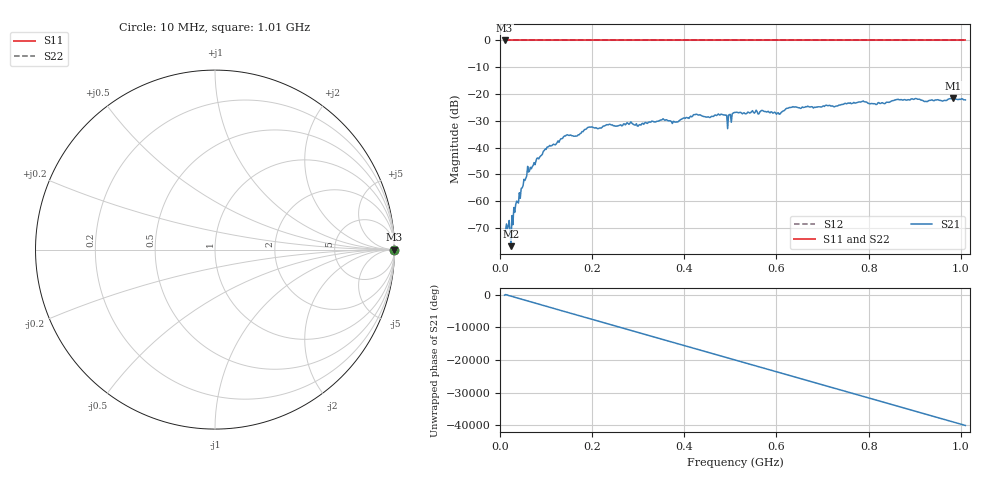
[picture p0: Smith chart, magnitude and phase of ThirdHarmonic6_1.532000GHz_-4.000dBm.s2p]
! 8/16/2025 6:07:52 PM
! C:\ANRITSUVNA\TEMP\TEMP.S2P
! CHANNEL.1
! TR.MEASUREMENT
! RAW.DATA
! RF.CORRECTION.OFF
! AVERAGING.OFF
! IF.BANDWIDTH: 5KHZ
! SWEEPTYPE:  FREQ.SWEEP(Linear)
! Reference Plane Port Info
! PORT:  PORT1  PORT2
! DISTANCE:  0  m  0  m
! TIME:  0  s  0  s
! PHASE.OFFSET:  0  deg.  0  deg.
! LOSS:  0  dB  0  dB
! REF.LOSS:  0  dB  0  dB
! REF.FREQ:  0  Hz  0  Hz
! Power Info
! POWER:  -20  dBm  -20  dBm
! EFF.POWER:  -20  dBm  -20  dBm
! SOURCE.ATTEN:  0  dB  0  dB
! TEST.ATTEN:  0  dB  0  dB
# GHZ S RI R 50.0
! FREQ.GHZ  S11RE  S11IM  S21RE  S21IM  S12RE  S12IM  S22RE  S22IM
!; PortSelection: Port_12
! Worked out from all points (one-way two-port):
!   501 points, 10 MHz to 1.01 GHz, reference 50 ohm
!   highest |S21| = -21.64 dB at 984 MHz (marker M1); lowest = -76.8 dB at 24 MHz (marker M2)
!   lowest |S11| = 0.0 dB at 10 MHz (marker M3)
!   |S11| at or under -10 dB: nowhere
!   |S22| runs from 0.0 to 0.0 dB; largest |S21 - S12| = 1.1
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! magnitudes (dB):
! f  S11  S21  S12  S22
! 10 MHz  0.0  -72.2  0.0  0.0
! 16 MHz  0.0  -70.3  0.0  0.0
! 20 MHz  0.0  -67.2  0.0  0.0
! 24 MHz  0.0  -76.8  0.0  0.0
! 34 MHz  0.0  -61.3  0.0  0.0
! 64 MHz  0.0  -48.7  0.0  0.0
! 106 MHz  0.0  -39.5  0.0  0.0
! 142 MHz  0.0  -35.6  0.0  0.0
! 178 MHz  0.0  -34.0  0.0  0.0
! 194 MHz  0.0  -32.3  0.0  0.0
! 344 MHz  0.0  -30.1  0.0  0.0
! 384 MHz  0.0  -30.4  0.0  0.0
! 424 MHz  0.0  -27.7  0.0  0.0
! 484 MHz  0.0  -27.7  0.0  0.0
! 498 MHz  0.0  -27.6  0.0  0.0
! 510 MHz  0.0  -26.8  0.0  0.0
! 604 MHz  0.0  -27.0  0.0  0.0
! 632 MHz  0.0  -24.9  0.0  0.0
! 678 MHz  0.0  -24.8  0.0  0.0
! 844 MHz  0.0  -23.1  0.0  0.0
! 984 MHz  0.0  -21.6  0.0  0.0
! 1.01 GHz  0.0  -22.2  0.0  0.0
